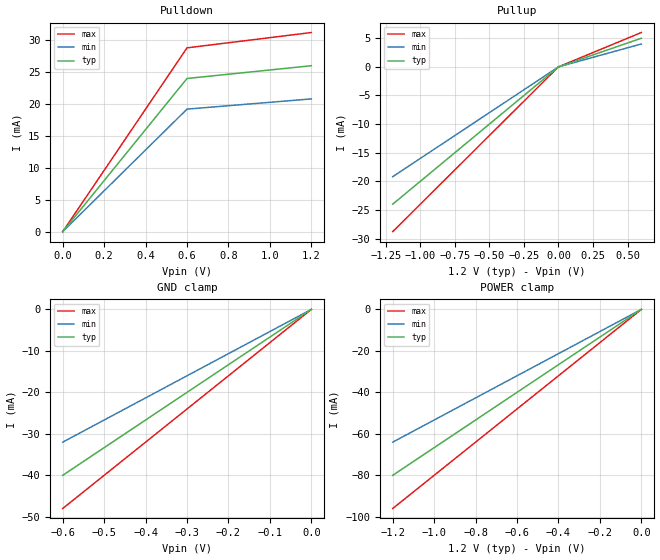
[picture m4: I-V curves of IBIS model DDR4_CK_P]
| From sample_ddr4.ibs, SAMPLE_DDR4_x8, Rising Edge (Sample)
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| ──────────────────────────────────────────────────────────────────────
| Model: DDR4_CK_P / DDR4_CK_N — Clock pair
| ──────────────────────────────────────────────────────────────────────
[Model]   DDR4_CK_P
Model_type   Output
[Voltage Range]   1.200   1.140   1.260
[Temperature Range] 25   0   95
[C_comp]   2.500p   2.000p   3.000p
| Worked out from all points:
|   slope of the pulldown table from 0 to 0.18 V, typ, clamps not added: 25 ohm
[Pullup]
| voltage   I(typ)   I(min)   I(max)
-1.2V     -24mA      -19.2mA    -28.8mA
0V        0A         0A         0A
600mV     5mA        4mA        6mA
[Pulldown]
| voltage   I(typ)   I(min)   I(max)
0V        0A         0A         0A
600mV     24mA       19.2mA     28.8mA
1.2V      26mA       20.8mA     31.2mA
[Power Clamp]
| voltage   I(typ)   I(min)   I(max)
-1.2V     -80mA      -64mA      -96mA
0V        0A         0A         0A
[GND Clamp]
| voltage   I(typ)   I(min)   I(max)
-600mV    -40mA      -32mA      -48mA
0V        0A         0A         0A
[Ramp]
| variable   typ   min   max
dV/dt_r   1.20/0.5n   0.96/0.5n   1.44/0.5n
dV/dt_f   1.20/0.5n   0.96/0.5n   1.44/0.5n
R_load   40
